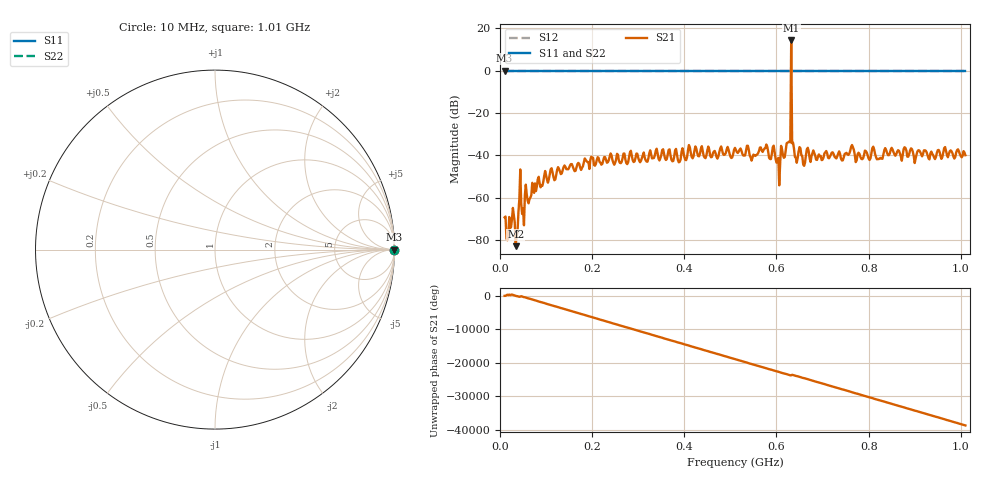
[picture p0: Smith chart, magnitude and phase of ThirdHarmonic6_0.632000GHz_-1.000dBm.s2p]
! 8/15/2025 8:52:07 PM
! C:\ANRITSUVNA\TEMP\TEMP.S2P
! CHANNEL.1
! TR.MEASUREMENT
! RAW.DATA
! RF.CORRECTION.OFF
! AVERAGING.OFF
! IF.BANDWIDTH: 5KHZ
! SWEEPTYPE:  FREQ.SWEEP(Linear)
! Reference Plane Port Info
! PORT:  PORT1  PORT2
! DISTANCE:  0  m  0  m
! TIME:  0  s  0  s
! PHASE.OFFSET:  0  deg.  0  deg.
! LOSS:  0  dB  0  dB
! REF.LOSS:  0  dB  0  dB
! REF.FREQ:  0  Hz  0  Hz
! Power Info
! POWER:  -20  dBm  -20  dBm
! EFF.POWER:  -20  dBm  -20  dBm
! SOURCE.ATTEN:  0  dB  0  dB
! TEST.ATTEN:  0  dB  0  dB
# GHZ S RI R 50.0
! FREQ.GHZ  S11RE  S11IM  S21RE  S21IM  S12RE  S12IM  S22RE  S22IM
!; PortSelection: Port_12
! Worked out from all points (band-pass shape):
!   501 points, 10 MHz to 1.01 GHz, reference 50 ohm
!   highest |S21| = 14.17 dB at 632 MHz (marker M1); lowest = -82.8 dB at 34 MHz (marker M2)
!   |S21| within 3 dB of the highest: 631.8751 MHz to 632.1239 MHz (248.7 kHz wide, 0.0394 % of centre)
!   lowest |S11| = 0.0 dB at 10 MHz (marker M3)
!   |S11| at or under -10 dB: nowhere
!   |S22| runs from 0.0 to 0.0 dB; largest |S21 - S12| = 4.8
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0.01  1 0  -9.43e-05 -0.000333  1 0  1 0
0.018  1 0  -3.94e-05 0.000105  1 0  1 0
0.028  1 0  -0.000573 -7.57e-05  1 0  1 0
0.034  1 0  1.55e-05 -7.08e-05  1 0  1 0
0.044  1 0  0.00358 0.00298  1 0  1 0
0.05  1 0  0.00051 -0.000249  1 0  1 0
0.08  1 0  -0.00166 -0.000831  1 0  1 0
0.178  1 0  -0.00509 0.00039  1 0  1 0
0.344  1 0  0.00271 -0.00792  1 0  1 0
0.51  1 0  -0.00145 0.015  1 0  1 0
0.548  1 0  0.00881 0.00138  1 0  1 0
0.576  1 0  0.0108 -0.0102  1 0  1 0
0.604  1 0  0.00314 -0.00813  1 0  1 0
0.626  1 0  -0.00475 0.0199  1 0  1 0
0.628  1 0  0.0206 0.00598  1 0  1 0
0.632  1 0  1.915 -4.74  1 0  1 0
0.636  1 0  0.0191 0.0058  1 0  1 0
0.638  1 0  0.00258 -0.0142  1 0  1 0
0.658  1 0  -0.00381 -0.00476  1 0  1 0
0.678  1 0  -0.011 0.00234  1 0  1 0
0.844  1 0  0.00805 -0.00613  1 0  1 0
1.01  1 0  -0.000641 0.0101  1 0  1 0
